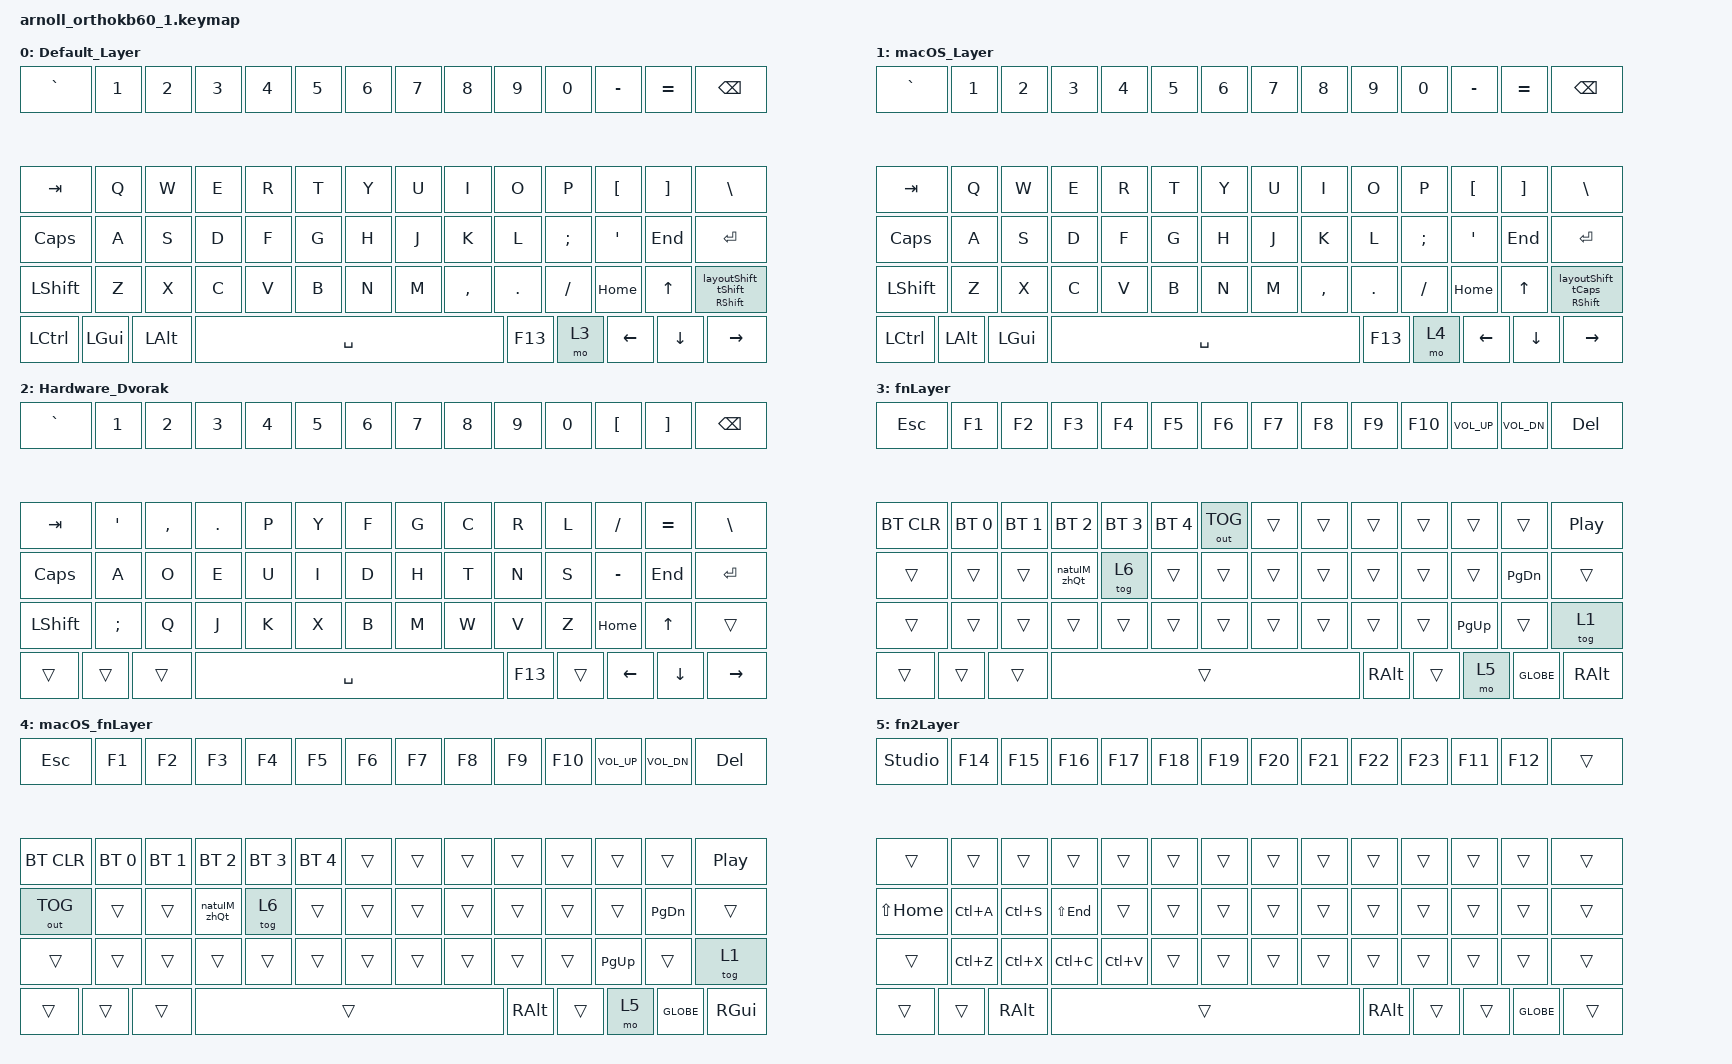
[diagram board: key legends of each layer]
#include <behaviors.dtsi>
#include <dt-bindings/zmk/keys.h>
#include <dt-bindings/zmk/bt.h>
#include <dt-bindings/zmk/outputs.h> // for OUT_TOG

#define UMLAUT_MACROS(name, low_seq, up_seq) \
    name##_low:name##_low { \
        compatible = "zmk,behavior-macro";\
        #binding-cells = <0>;\
        wait-ms = <15>; tap-ms = <15>;\
        bindings = <&macro_tap low_seq>;\
    }; \
    name##_up: name##_up { \
        compatible = "zmk,behavior-macro";\
        #binding-cells = <0>;\
        wait-ms = <15>; tap-ms = <15>;\
        bindings = <&macro_tap up_seq>;\
    };

#define UMLAUT_MOD_MORPH(name) \
    name: name { compatible = "zmk,behavior-mod-morph"; #binding-cells = <0>; bindings = <&name##_low>, <&name##_up>; mods = <(MOD_LSFT|MOD_RSFT)>; };

#define UMLAUT_COMBO(name, k1, k2, bind, lyr) \
    combo_##name { \
        timeout-ms = <40>;\
        key-positions = <k1 k2>;\
        bindings = <bind>;\
        layers = <lyr>;\
    };

&kscan0 {
    debounce-press-ms = <1>;
    debounce-release-ms = <1>;
};

// * Keymap from Line 211
//  or Ctrl + F `zmk,keymap`

/ {
    behaviors {
        UMLAUT_MOD_MORPH(umlaut_a_compose)       UMLAUT_MOD_MORPH(umlaut_o_compose)
        UMLAUT_MOD_MORPH(umlaut_u_compose)       UMLAUT_MOD_MORPH(eszett_compose)
        UMLAUT_MOD_MORPH(umlaut_a_macOS)         UMLAUT_MOD_MORPH(umlaut_o_macOS)
        UMLAUT_MOD_MORPH(umlaut_u_macOS)         UMLAUT_MOD_MORPH(eszett_macOS)

        UMLAUT_MOD_MORPH(umlaut_a_compose_HWDv)  UMLAUT_MOD_MORPH(umlaut_o_compose_HWDv)
        UMLAUT_MOD_MORPH(umlaut_u_compose_HWDv)  UMLAUT_MOD_MORPH(eszett_compose_HWDv)
        UMLAUT_MOD_MORPH(umlaut_a_macOS_HWDv)    UMLAUT_MOD_MORPH(umlaut_o_macOS_HWDv)
        UMLAUT_MOD_MORPH(umlaut_u_macOS_HWDv)    UMLAUT_MOD_MORPH(eszett_macOS_HWDv)

        layoutShift_tapShift: layoutShift_tapShift {
            compatible = "zmk,behavior-hold-tap";
            #binding-cells = <2>;
            flavor = "balanced";
            tapping-term-ms = <200>;
            //     long hold  short tap
            bindings = <&kp>, <&layoutShift_tShift>;
        };

        layoutShift_tapCaps: layoutShift_tapCaps {
            compatible = "zmk,behavior-hold-tap";
            #binding-cells = <2>;
            flavor = "balanced";
            tapping-term-ms = <200>;
            bindings = <&kp>, <&layoutShift_tCaps>;
        };

        layoutShift_Super_Space: layoutShift_Super_Space {
            compatible = "zmk,behavior-hold-tap";
            #binding-cells = <2>;
            flavor = "balanced";
            tapping-term-ms = <200>;
            bindings = <&kp>, <&layoutShift_Supr_Spc>;
        };

        layoutShift_Ctrl_Space: layoutShift_Ctrl_Space {
            compatible = "zmk,behavior-hold-tap";
            #binding-cells = <2>;
            flavor = "balanced";
            tapping-term-ms = <200>;
            bindings = <&kp>, <&layoutShift_Ctrl_Spc>;
        };
    };  // Generated by Gemini on Google AI Studio

    macros {

        layoutShift_tShift: layoutShift_tShift {
            compatible = "zmk,behavior-macro";
            #binding-cells = <0>;
            bindings = <&macro_tap &tog 2 &kp LSHFT> ;
        };

        layoutShift_tCaps: layoutShift_tCaps {
            compatible = "zmk,behavior-macro";
            #binding-cells = <0>;
            bindings = <&macro_tap &tog 2 &kp CAPSLOCK> ;
        };

        layoutShift_Supr_Spc: layoutShift_Supr_Spc {
            compatible = "zmk,behavior-macro";
            #binding-cells = <0>;
            bindings = <&macro_tap &tog 2 &macro_press &kp LGUI &macro_tap &kp SPACE &macro_release &kp LGUI> ;
        };

        layoutShift_Ctrl_Spc: layoutShift_Ctrl_Spc {
            compatible = "zmk,behavior-macro";
            #binding-cells = <0>;
            bindings = <&macro_tap &tog 2 &macro_press &kp LCTRL &macro_tap &kp SPACE &macro_release &kp LCTRL> ;
        };

        natuIM_zhQt: natuIM_zhQt {  // A paid input method for Chinese. 自然輸入法引號預設固定位置，輸入後自動把游標放到引號中間
            compatible = "zmk,behavior-macro";
            #binding-cells = <0>;
            bindings = <&macro_press &kp LCTRL &macro_tap &kp N7 &macro_release &kp LCTRL
                        &macro_tap &kp DOWN &kp DOWN &kp DOWN &kp DOWN &kp DOWN &kp N3 &kp N4 &kp ESC &kp ENTER &kp LEFT> ;
        };

        // Assisted by Gemini on Google AI Studio start

        // Normal Compose
        UMLAUT_MACROS(umlaut_a_compose, &kp K_APP &kp LS(Q) &kp A,    &kp K_APP &kp LS(Q) &kp LS(A))
        UMLAUT_MACROS(umlaut_o_compose, &kp K_APP &kp LS(Q) &kp S,    &kp K_APP &kp LS(Q) &kp LS(S))
        UMLAUT_MACROS(umlaut_u_compose, &kp K_APP &kp LS(Q) &kp F,    &kp K_APP &kp LS(Q) &kp LS(F))
        UMLAUT_MACROS(eszett_compose,   &kp K_APP &kp SEMI  &kp SEMI, &kp K_APP &kp LS(SEMI) &kp LS(SEMI))

        // Normal macOS
        UMLAUT_MACROS(umlaut_a_macOS,   &kp LA(F) &kp A,              &kp LA(F) &kp LS(A))
        UMLAUT_MACROS(umlaut_o_macOS,   &kp LA(F) &kp S,              &kp LA(F) &kp LS(S))
        UMLAUT_MACROS(umlaut_u_macOS,   &kp LA(F) &kp F,              &kp LA(F) &kp LS(F))
        UMLAUT_MACROS(eszett_macOS,     &kp LA(SEMI),                 &kp LS(SEMI) &kp LS(SEMI))

        // Hardware Dvorak Compose
        UMLAUT_MACROS(umlaut_a_compose_HWDv, &kp K_APP &kp DQT &kp A, &kp K_APP &kp DQT &kp LS(A))
        UMLAUT_MACROS(umlaut_o_compose_HWDv, &kp K_APP &kp DQT &kp O, &kp K_APP &kp DQT &kp LS(O))
        UMLAUT_MACROS(umlaut_u_compose_HWDv, &kp K_APP &kp DQT &kp U, &kp K_APP &kp DQT &kp LS(U))
        UMLAUT_MACROS(eszett_compose_HWDv,   &kp K_APP &kp S   &kp S, &kp K_APP &kp LS(S) &kp LS(S))

        // Hardware Dvorak macOS
        UMLAUT_MACROS(umlaut_a_macOS_HWDv,   &kp LA(U) &kp A,         &kp LA(U) &kp LS(A))
        UMLAUT_MACROS(umlaut_o_macOS_HWDv,   &kp LA(U) &kp O,         &kp LA(U) &kp LS(O))
        UMLAUT_MACROS(umlaut_u_macOS_HWDv,   &kp LA(U) &kp U,         &kp LA(U) &kp LS(U))
        UMLAUT_MACROS(eszett_macOS_HWDv,     &kp LA(S),               &kp LS(S) &kp LS(S))

        // Assisted by Gemini on Google AI Studio end

        umlaut_a_Windows: umlaut_a_Windows {
            compatible = "zmk,behavior-macro";
            #binding-cells = <0>;
            bindings = <&macro_press &kp RALT
                        &macro_tap &kp KP_N0 &kp KP_N2 &kp KP_N2 &kp KP_N8
                        &macro_release &kp RALT>;
        };

        umlaut_o_Windows: umlaut_o_Windows {
            compatible = "zmk,behavior-macro";
            #binding-cells = <0>;
            bindings = <&macro_press &kp RALT
                        &macro_tap &kp KP_N0 &kp KP_N2 &kp KP_N4 &kp KP_N6
                        &macro_release &kp RALT>;
        };

        umlaut_u_Windows: umlaut_u_Windows {
            compatible = "zmk,behavior-macro";
            #binding-cells = <0>;
            bindings = <&macro_press &kp RALT
                        &macro_tap &kp KP_N0 &kp KP_N2 &kp KP_N5 &kp KP_N2
                        &macro_release &kp RALT>;
        };

        eszett_Windows: eszett_Windows {
            compatible = "zmk,behavior-macro";
            #binding-cells = <0>;
            bindings = <&macro_press &kp RALT
                        &macro_tap &kp KP_N0 &kp KP_N2 &kp KP_N2 &kp KP_N3
                        &macro_release &kp RALT>;
        };

    };

    combos {
        compatible = "zmk,combos";

        // Normal Compose
        UMLAUT_COMBO(ae_Normal, 29, 31, &umlaut_a_compose, 0)
        UMLAUT_COMBO(oe_Normal, 30, 31, &umlaut_o_compose, 0)
        UMLAUT_COMBO(ue_Normal, 32, 31, &umlaut_u_compose, 0)
        UMLAUT_COMBO(sz_Normal, 31, 38, &eszett_compose,   0)

        // Normal macOS
        UMLAUT_COMBO(ae_Normal_macOS, 29, 31, &umlaut_a_macOS,   1)
        UMLAUT_COMBO(oe_Normal_macOS, 30, 31, &umlaut_o_macOS,   1)
        UMLAUT_COMBO(ue_Normal_macOS, 32, 31, &umlaut_u_macOS,   1)
        UMLAUT_COMBO(sz_Normal_macOS, 31, 38, &eszett_macOS,     1)

        // Hardware Dvorak Compose
        UMLAUT_COMBO(ae_HWDv, 29, 31, &umlaut_a_compose_HWDv, 2)
        UMLAUT_COMBO(oe_HWDv, 30, 31, &umlaut_o_compose_HWDv, 2)
        UMLAUT_COMBO(ue_HWDv, 32, 31, &umlaut_u_compose_HWDv, 2)
        UMLAUT_COMBO(sz_HWDv, 31, 38, &eszett_compose_HWDv,   2)

        /*
        // Hardware Dvorak macOS
        UMLAUT_COMBO(ae_ln, 29, 31, &umlaut_a_macOS_HWDv, 2)
        UMLAUT_COMBO(oe_ln, 30, 31, &umlaut_o_macOS_HWDv, 2)
        UMLAUT_COMBO(ue_ln, 32, 31, &umlaut_u_macOS_HWDv, 2)
        UMLAUT_COMBO(sz_ln, 31, 38, &eszett_macOS_HWDv,   2)
        */
        
        // Combos generated by Gemini on Google AI Studio until here

        backspaceCombo { \
            timeout-ms = <40>;\
            key-positions = <12 13>;\
            bindings = <&kp BACKSPACE>;\
            layers = < 0 1 2 3 4 5 6 >;\
        };
        
        enterCombo { \
            timeout-ms = <40>;\
            key-positions = <40 41>;\
            bindings = <&kp ENTER>;\
            layers = < 0 1 2 3 4 5 6 >;\
        };
    };  

    keymap {
        compatible = "zmk,keymap";

        Default_Layer { // Layer 0
            bindings = <
                &kp GRAVE &kp N1 &kp N2 &kp N3 &kp N4 &kp N5 &kp N6 &kp N7 &kp N8    &kp N9  &kp N0   &kp MINUS &kp EQUAL &kp BSPC
                &kp TAB   &kp Q  &kp W  &kp E  &kp R  &kp T  &kp Y  &kp U  &kp I     &kp O   &kp P    &kp LBKT  &kp RBKT  &kp BSLH
                &kp CAPS  &kp A  &kp S  &kp D  &kp F  &kp G  &kp H  &kp J  &kp K     &kp L   &kp SEMI &kp SQT   &kp END   &kp ENTER
                &kp LSHFT &kp Z  &kp X  &kp C  &kp V  &kp B  &kp N  &kp M  &kp COMMA &kp DOT &kp FSLH &kp HOME  &kp UP    &layoutShift_tapShift RSHIFT 0
                &kp LCTRL &kp LGUI &kp LALT                &kp SPACE                 &kp F13 &mo 3    &kp LEFT  &kp DOWN   &kp RIGHT
            >;
        };

        macOS_Layer { // Layer 1 | macOS Layer
            bindings = <
                &kp GRAVE &kp N1 &kp N2 &kp N3 &kp N4 &kp N5 &kp N6 &kp N7 &kp N8    &kp N9  &kp N0   &kp MINUS &kp EQUAL &kp BSPC
                &kp TAB   &kp Q  &kp W  &kp E  &kp R  &kp T  &kp Y  &kp U  &kp I     &kp O   &kp P    &kp LBKT  &kp RBKT  &kp BSLH
                &kp CAPS  &kp A  &kp S  &kp D  &kp F  &kp G  &kp H  &kp J  &kp K     &kp L   &kp SEMI &kp SQT   &kp END   &kp ENTER
                &kp LSHFT &kp Z  &kp X  &kp C  &kp V  &kp B  &kp N  &kp M  &kp COMMA &kp DOT &kp FSLH &kp HOME  &kp UP    &layoutShift_tapCaps RSHIFT 0
                &kp LCTRL &kp LALT &kp LGUI                &kp SPACE                 &kp F13 &mo 4    &kp LEFT  &kp DOWN  &kp RIGHT
            >;
        };

        Hardware_Dvorak { // Layer 2 | Hardware Dvorak
            bindings = <
                &kp GRAVE &kp N1 &kp N2 &kp N3 &kp N4 &kp N5 &kp N6 &kp N7 &kp N8  &kp N9  &kp N0 &kp LBKT  &kp RBKT  &kp BSPC
                &kp TAB    &kp SQT &kp COMMA &kp DOT &kp P &kp Y &kp F &kp G &kp C &kp R   &kp L  &kp FSLH  &kp EQUAL &kp BSLH
                &kp CAPS   &kp A   &kp O  &kp E  &kp U  &kp I  &kp D  &kp H  &kp T &kp N   &kp S  &kp MINUS &kp END   &kp ENTER 
                &kp LSHFT &kp SEMI &kp Q  &kp J  &kp K  &kp X  &kp B  &kp M  &kp W &kp V   &kp Z  &kp HOME  &kp UP    &trans
                &trans    &trans   &trans                  &kp SPACE               &kp F13 &trans &kp LEFT  &kp DOWN  &kp RIGHT
            >;
        };

        fnLayer { // Layer 3 | fn Layer (imcomplete)
            bindings = <
                &kp ESC    &kp F1       &kp F2       &kp F3       &kp F4       &kp F5       &kp F6       &kp F7 &kp F8 &kp F9   &kp F10 &kp C_VOL_UP &kp C_VOL_DN &kp DEL
                &bt BT_CLR &bt BT_SEL 0 &bt BT_SEL 1 &bt BT_SEL 2 &bt BT_SEL 3 &bt BT_SEL 4 &out OUT_TOG &trans &trans &trans   &trans  &trans       &trans       &kp C_PLAY_PAUSE
                &trans     &trans       &trans       &natuIM_zhQt &tog 6       &trans       &trans       &trans &trans &trans   &trans  &trans       &kp PG_DN    &trans
                &trans     &trans       &trans       &trans       &trans       &trans       &trans       &trans &trans &trans   &trans  &kp PAGE_UP  &trans       &tog 1
                &trans     &trans       &trans                                 &trans                                  &kp RALT &trans  &mo 5        &kp GLOBE    &kp RALT
            >;  
        };

        macOS_fnLayer { // Layer 4 | Mac fn Layer (imcomplete)  
            bindings = <
                &kp ESC    &kp F1       &kp F2       &kp F3       &kp F4       &kp F5       &kp F6 &kp F7 &kp F8 &kp F9    &kp F10 &kp C_VOL_UP &kp C_VOL_DN &kp DEL
                &bt BT_CLR &bt BT_SEL 0 &bt BT_SEL 1 &bt BT_SEL 2 &bt BT_SEL 3 &bt BT_SEL 4 &trans &trans &trans &trans    &trans  &trans       &trans       &kp C_PLAY_PAUSE
                &out OUT_TOG &trans     &trans       &natuIM_zhQt &tog 6       &trans       &trans &trans &trans &trans    &trans  &trans       &kp PG_DN    &trans
                &trans     &trans       &trans       &trans       &trans       &trans       &trans &trans &trans &trans    &trans  &kp PAGE_UP  &trans       &tog 1
                &trans     &trans       &trans                                 &trans                            &kp RALT  &trans  &mo 5        &kp GLOBE    &kp RGUI
            >;
        };

        fn2Layer { // Layer 5 | fn2 Layer (imcomplete)
            bindings = <
                &studio_unlock &kp F14   &kp F15    &kp F16     &kp F17    &kp F18 &kp F19 &kp F20 &kp F21 &kp F22  &kp F23 &kp F11 &kp F12   &trans
                &trans         &trans    &trans     &trans      &trans     &trans  &trans  &trans  &trans  &trans   &trans  &trans  &trans    &trans
                &kp LS(HOME)   &kp LC(A) &kp LC(S)  &kp LS(END) &trans     &trans  &trans  &trans  &trans  &trans   &trans  &trans  &trans    &trans
                &trans         &kp LC(Z) &kp LC(X)  &kp LC(C)   &kp LC(V)  &trans  &trans  &trans  &trans  &trans   &trans  &trans  &trans    &trans
                &trans         &trans    &kp RALT                        &trans                              &kp RALT &trans  &trans  &kp GLOBE &trans
            >;
        };

        // bluetooth_layer {
        //     bindings = <
        //         &bt BT_SEL 0   &bt BT_SEL 1 &bt BT_SEL 2
        //         &bt BT_SEL 3   &bt BT_SEL 4 &bt BT_CLR 
        //         &bt BT_CLR_ALL &out OUT_BLE &out OUT_USB
        //         &to 1          &to 0        &to 6
        //     >;
        // };

        // someLayer {
        //     bindings = <
        //         &bt BT_SEL 0   &bt BT_SEL 1 &bt BT_SEL 2
        //         &bt BT_SEL 3   &bt BT_SEL 4 &bt BT_CLR 
        //         &bt BT_CLR_ALL &out OUT_BLE &out OUT_USB
        //         &to 1          &to 0        &to 6
        //     >;
        // };
    };
};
